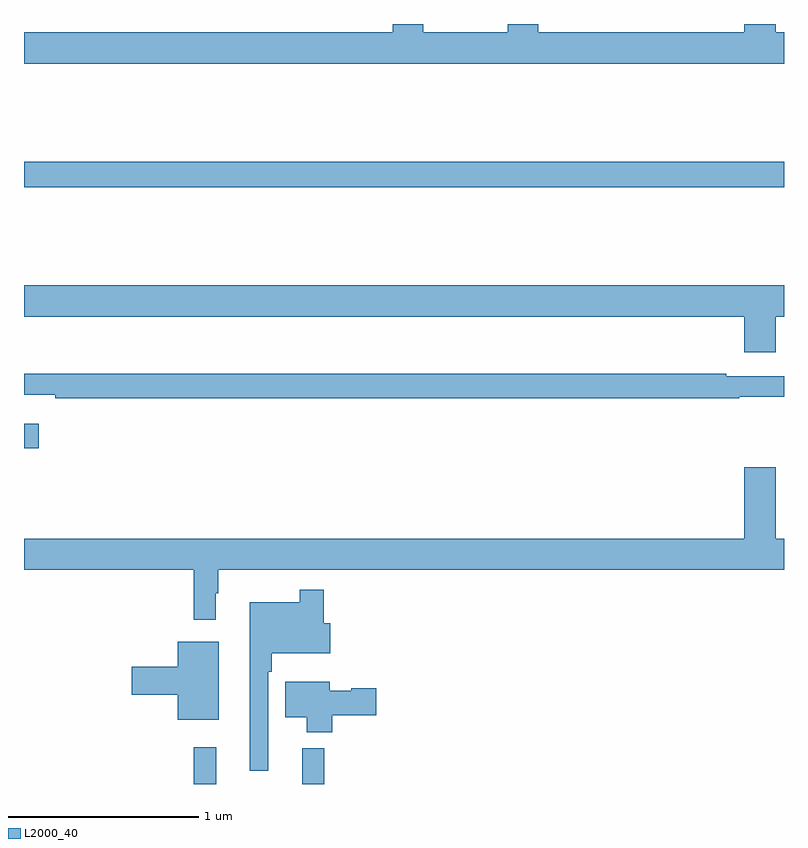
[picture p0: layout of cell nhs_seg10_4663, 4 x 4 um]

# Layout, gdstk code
import gdstk
lib = gdstk.Library(unit=1e-6, precision=1e-09)
def R(c, l, rs):  # rectangles x0, y0, x1, y1
    for r in rs: c.add(gdstk.rectangle(r[:2], r[2:], *l))
def P(c, l, *ps):  # polygons
    for p in ps: c.add(gdstk.Polygon(p, *l))
L2000_40 = (2000, 40)

nhs_seg10_4663 = lib.new_cell('nhs_seg10_4663')
R(nhs_seg10_4663, L2000_40, [(377.893,1320.5,378.011,1320.694), (378.464,1320.5,378.581,1320.688), (377,1322.266,377.077,1322.395), (377,1323.64,381,1323.776)])
P(nhs_seg10_4663, L2000_40, [(381,1324.456),(380.956,1324.456),(380.956,1324.5),(380.792,1324.5),(380.792,1324.456),(379.706,1324.456),(379.706,1324.5),(379.546,1324.5),(379.546,1324.456),(379.101,1324.456),(379.101,1324.5),(378.941,1324.5),(378.941,1324.456),(377,1324.456),(377,1324.292),(381,1324.292)],
  [(380.956,1322.96),(381,1322.96),(381,1323.124),(377,1323.124),(377,1322.96),(380.792,1322.96),(380.792,1322.772),(380.956,1322.772)],
  [(380.764,1322.538),(381,1322.538),(381,1322.646),(380.696,1322.646),(380.696,1322.659),(377,1322.659),(377,1322.549),(377.164,1322.549),(377.164,1322.53),(380.764,1322.53)],
  [(378.01,1321.505),(378.022,1321.505),(378.022,1321.628),(381,1321.628),(381,1321.792),(380.956,1321.792),(380.956,1322.167),(380.792,1322.167),(380.792,1321.792),(377,1321.792),(377,1321.628),(377.893,1321.628),(377.893,1321.365),(378.01,1321.365)],
  [(378.285,1321.091),(378.305,1321.091),(378.305,1321.187),(378.613,1321.187),(378.613,1321.345),(378.578,1321.345),(378.578,1321.522),(378.45,1321.522),(378.45,1321.456),(378.188,1321.456),(378.188,1320.57),(378.285,1320.57)],
  [(378.025,1321.249),(377.81,1321.249),(377.81,1321.118),(377.568,1321.118),(377.568,1320.971),(377.81,1320.971),(377.81,1320.839),(378.025,1320.839)],
  [(378.623,1320.862),(378.853,1320.862),(378.853,1321.004),(378.723,1321.004),(378.723,1320.991),(378.61,1320.991),(378.61,1321.039),(378.374,1321.039),(378.374,1320.851),(378.488,1320.851),(378.488,1320.773),(378.623,1320.773)])

lib.write_gds('nhs_seg10_4663.gds')
